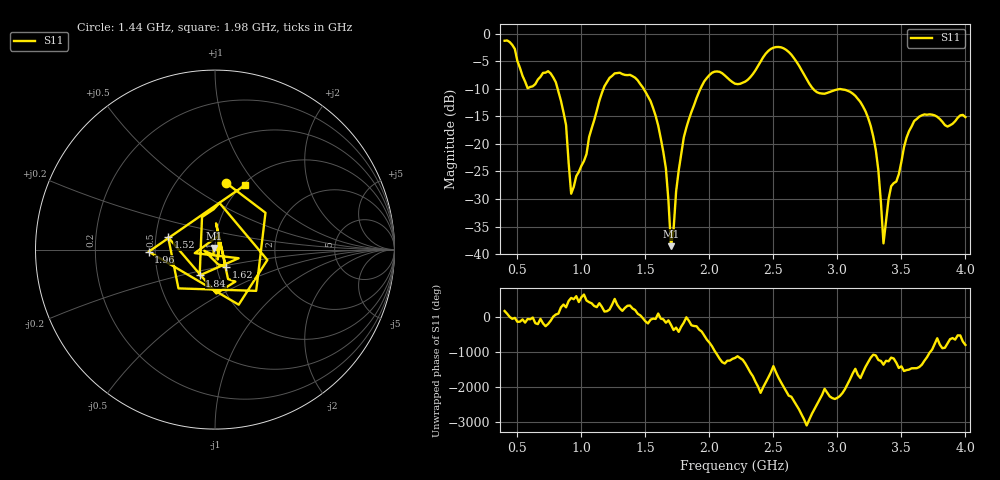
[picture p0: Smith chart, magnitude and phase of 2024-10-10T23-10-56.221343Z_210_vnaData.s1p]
! Created with skrf (http://scikit-rf.org).
# Hz S RI R 50.0
!freq ReS11 ImS11
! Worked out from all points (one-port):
!   181 points, 400 MHz to 4 GHz, reference 50 ohm
!   lowest |S11| = -38.6 dB at 1.7 GHz (marker M1), VSWR 1.02, Z = 49.3 + j0.964 ohm
!   |S11| at or under -10 dB: 813.8 MHz to 1.173 GHz (358.8 MHz wide, 36.1 % of centre); 1.486 GHz to 1.931 GHz (444.6 MHz wide, 26 % of centre); 2.81 GHz to end of sweep
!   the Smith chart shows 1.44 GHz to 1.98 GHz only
!   S11 on the Smith chart (normalised r, x): 1.44 GHz: 0.84, +0.73; 1.52 GHz: 0.58, +0.09; 1.62 GHz: 1.11, -0.21; 1.84 GHz: 0.81, -0.24; 1.96 GHz: 0.46, -0.01; 1.98 GHz: 1.02, +0.87
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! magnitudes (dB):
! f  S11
! 400 MHz  -1.3
! 580 MHz  -9.9
! 760 MHz  -7.2
! 860 MHz  -14.3
! 880 MHz  -16.6
! 920 MHz  -29.0
! 1.18 GHz  -9.5
! 1.3 GHz  -7.1
! 1.44 GHz  -8.5
! 1.52 GHz  -11.4
! 1.62 GHz  -19.0
! 1.66 GHz  -24.4
! 1.7 GHz  -38.6
! 1.76 GHz  -24.9
! 1.84 GHz  -15.5
! 1.96 GHz  -8.7
! 1.98 GHz  -8.1
! 2.2 GHz  -9.1
! 2.5 GHz  -2.6
! 2.66 GHz  -4.4
! 2.84 GHz  -10.6
! 3.1 GHz  -10.6
! 3.28 GHz  -18.7
! 3.32 GHz  -24.8
! 3.36 GHz  -38.1
! 3.42 GHz  -27.7
! 3.56 GHz  -17.7
! 4 GHz  -15.2
